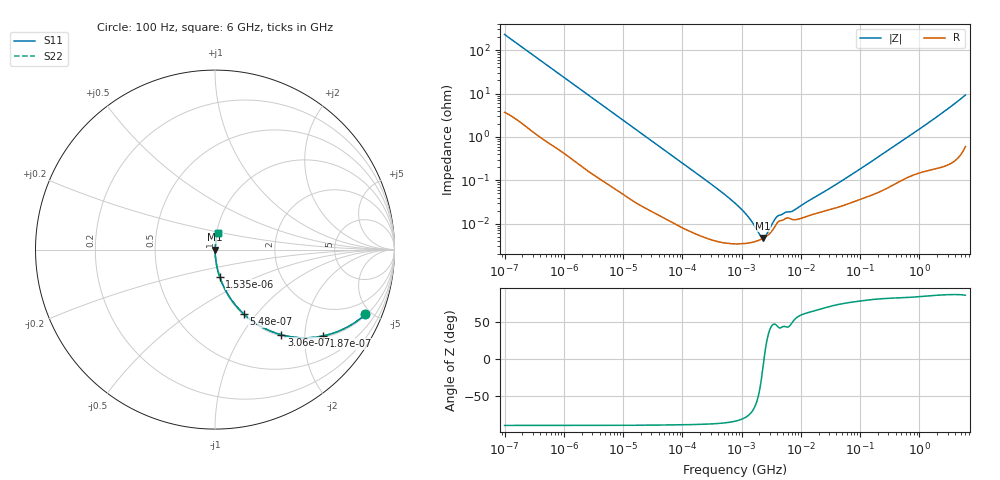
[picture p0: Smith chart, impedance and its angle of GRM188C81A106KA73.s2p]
!Murata Part Number: GRM188C81A106KA73
!These Parameters are Measured in Series Mode Connection
!Data Generated on Mar 30, 2021
!  o--ll--o
!Port1  Port2
!  o------o
!Operation Temp=25[degC], DC Bias Voltage=0[V]
!Freq. Start=100[Hz] Stop=6[GHz] 401[Steps]
# Hz S RI R 50
!Freq.(Hz) S11(Real) S11(Imag) S21(Real) S21(Imag) S12(Real) S12(Imag) S22(Real) S22(Imag)
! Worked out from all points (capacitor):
!   401 points, 100 Hz to 6 GHz, reference 50 ohm
!   read as one part in series: C = 6.89 uF near 109 Hz
!   lowest |Z| = 4.67 mohm at 2.269 MHz (marker M1)
!   series resonance near 2.39 MHz, so ESL is about 640 pH
!   S11 on the Smith chart (normalised r, x): 100 Hz: 1.07, -4.60; 187 Hz: 1.04, -2.48; 306 Hz: 1.03, -1.52; 548 Hz: 1.01, -0.86; 1.535 kHz: 1.01, -0.31; 6 GHz: 1.01, +0.18
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100  0.8371 -0.3613  0.1629 0.3613  0.1629 0.3613  0.8371 -0.3613
131  0.7534 -0.4226  0.2466 0.4226  0.2466 0.4226  0.7534 -0.4226
187  0.6042 -0.4805  0.3958 0.4805  0.3958 0.4805  0.6042 -0.4805
306  0.3695 -0.4744  0.6305 0.4744  0.6305 0.4744  0.3695 -0.4744
548  0.1592 -0.3574  0.8408 0.3574  0.8408 0.3574  0.1592 -0.3574
858  0.0742 -0.2534  0.9258 0.2534  0.9258 0.2534  0.0742 -0.2534
1535  0.0259 -0.1503  0.9741 0.1503  0.9741 0.1503  0.0259 -0.1503
2008  0.0159 -0.1165  0.9841 0.1165  0.9841 0.1165  0.0159 -0.1165
6433  0.00211 -0.0374  0.9979 0.0374  0.9979 0.0374  0.00211 -0.0374
40335  0.000192 -0.00611  0.9998 0.00611  0.9998 0.00611  0.000192 -0.00611
316350  4.25e-05 -0.000788  1 0.000788  1 0.000788  4.25e-05 -0.000788
774597  3.42e-05 -0.000295  1 0.000295  1 0.000295  3.42e-05 -0.000295
1585629  3.77e-05 -9.07e-05  1 9.07e-05  1 9.07e-05  3.77e-05 -9.07e-05
2268635  4.53e-05 -1.13e-05  1 1.13e-05  1 1.13e-05  4.53e-05 -1.13e-05
3103719  6.27e-05 5.79e-05  0.9999 -5.79e-05  0.9999 -5.79e-05  6.27e-05 5.79e-05
4246196  0.000113 0.000105  0.9999 -0.000105  0.9999 -0.000105  0.000113 0.000105
7599586  0.000123 0.00016  0.9999 -0.00016  0.9999 -0.00016  0.000123 0.00016
1.555665e7  0.000161 0.000339  0.9998 -0.000339  0.9998 -0.000339  0.000161 0.000339
5.211241e7  0.000262 0.000987  0.9997 -0.000987  0.9997 -0.000987  0.000262 0.000987
3.124326e8  0.000722 0.00511  0.9993 -0.00511  0.9993 -0.00511  0.000722 0.00511
1.95892e9  0.00267 0.0286  0.9973 -0.0286  0.9973 -0.0286  0.00267 0.0286
6e9  0.0142 0.0904  0.9858 -0.0904  0.9858 -0.0904  0.0142 0.0904
